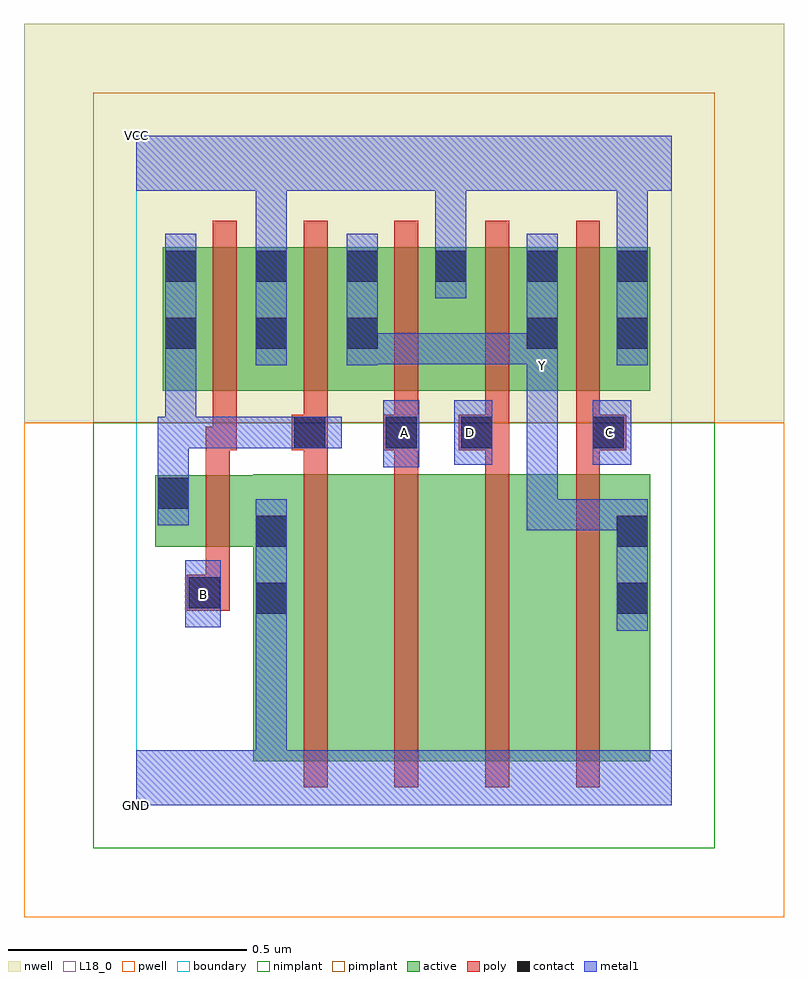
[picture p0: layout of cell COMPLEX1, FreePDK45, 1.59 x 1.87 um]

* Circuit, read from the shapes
.subckt COMPLEX1 A B C D GND VCC Y
M1 GND B n1 VSUBS nfet w=0.15u l=0.05u
M2 n2 n1 GND VSUBS nfet w=0.6u l=0.05u
M3 n3 A n2 VSUBS nfet w=0.6u l=0.05u
M4 n4 D n3 VSUBS nfet w=0.6u l=0.05u
M5 Y C n4 VSUBS nfet w=0.6u l=0.05u
M6 VCC B n1 n5 pfet w=0.3u l=0.05u
M7 Y n1 VCC n5 pfet w=0.3u l=0.05u
M8 VCC A Y n5 pfet w=0.3u l=0.05u
M9 Y D VCC n5 pfet w=0.3u l=0.05u
M10 VCC C Y n5 pfet w=0.3u l=0.05u
.ends

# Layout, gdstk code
import gdstk
lib = gdstk.Library(unit=1e-6, precision=1e-09)
def R(c, l, rs):  # rectangles x0, y0, x1, y1
    for r in rs: c.add(gdstk.rectangle(r[:2], r[2:], *l))
def A(c, l, x, y, w, h, nx, ny, dx, dy):  # array of equal rectangles
    R(c, l, [(x+i*dx, y+j*dy, x+i*dx+w, y+j*dy+h) for i in range(nx) for j in range(ny)])
active = (1, 0)
pwell = (2, 0)
nwell = (3, 0)
nimplant = (4, 0)
pimplant = (5, 0)
poly = (9, 0)
contact = (10, 0)
metal1 = (11, 0)
L18_0 = (18, 0)
boundary = (235, 0)

complex1 = lib.new_cell('COMPLEX1')
A(complex1, active, 0.055, 0.867, 0.075, 0.3, 3, 1, 0.19, 0)
R(complex1, active, [(0.245,0.092,0.47,0.692), (0.47,0.092,0.66,0.692), (0.66,0.092,0.85,0.692), (0.85,0.092,1.075,0.692), (1,0.145,1.075,0.692), (0.245,0.395,0.32,0.61), (0.04,0.54,0.32,0.69), (0.04,0.54,0.115,0.69), (0.055,0.867,0.32,1.167), (0.245,0.867,0.51,1.167), (0.435,0.867,0.695,1.167), (0.62,0.867,0.887,1.167), (0.812,0.867,1.075,1.167), (1,0.867,1.075,1.167), (0.812,0.95,0.887,1.167), (0.62,1.002,0.695,1.167)])
R(complex1, pwell, [(-0.235,-0.235,1.355,0.8)])
R(complex1, nwell, [(-0.235,0.8,1.355,1.635)])
R(complex1, nimplant, [(-0.09,-0.09,1.21,0.8)])
R(complex1, pimplant, [(-0.09,0.8,1.21,1.49)])
A(complex1, poly, 0.35, 0.037, 0.05, 0.71, 4, 1, 0.19, 0)
A(complex1, poly, 0.35, 0.697, 0.05, 0.095, 4, 2, 0.19, 0.07)
A(complex1, poly, 0.16, 0.812, 0.05, 0.41, 5, 1, 0.19, 0)
R(complex1, poly, [(0.105,0.407,0.195,0.482), (0.145,0.432,0.195,0.535), (0.145,0.485,0.195,0.745), (0.145,0.695,0.195,0.792), (0.145,0.742,0.21,0.792), (0.16,0.742,0.21,0.862), (0.325,0.742,0.4,0.817), (0.517,0.742,0.592,0.817), (0.675,0.742,0.78,0.817), (0.92,0.742,1.025,0.817)])
A(complex1, contact, 0.06, 0.955, 0.065, 0.065, 3, 2, 0.19, 0.14)
R(complex1, contact, [(0.25,0.4,0.315,0.465), (1.005,0.4,1.07,0.465), (0.11,0.412,0.175,0.477), (0.25,0.54,0.315,0.605), (1.005,0.54,1.07,0.605), (0.045,0.62,0.11,0.685), (0.33,0.747,0.395,0.812), (0.522,0.747,0.587,0.812), (0.68,0.747,0.745,0.812), (0.955,0.747,1.02,0.812), (0.817,0.955,0.882,1.02), (1.005,0.955,1.07,1.02), (0.625,1.095,0.69,1.16), (0.817,1.095,0.882,1.16), (1.005,1.095,1.07,1.16)])
A(complex1, metal1, 0.06, 0.92, 0.065, 0.275, 3, 1, 0.19, 0)
R(complex1, metal1, [(0,0,1.12,0.115), (0.25,0.05,0.315,0.43), (0.25,0.365,0.315,0.43), (0.25,0.365,0.315,0.43), (0.25,0.365,0.315,0.64), (1.005,0.365,1.07,0.64), (0.102,0.372,0.177,0.512), (0.817,0.575,0.882,0.64), (0.817,0.575,1.07,0.64), (0.817,0.575,0.882,0.917), (1.005,0.575,1.07,0.64), (1.005,0.575,1.07,0.64), (0.045,0.585,0.11,0.72), (0.045,0.655,0.11,0.812), (0.517,0.707,0.592,0.847), (0.665,0.712,0.745,0.847), (0.955,0.712,1.035,0.847), (0.045,0.747,0.125,0.812), (0.06,0.747,0.125,0.812), (0.06,0.747,0.125,0.812), (0.06,0.747,0.36,0.812), (0.06,0.747,0.125,0.985), (0.295,0.747,0.36,0.812), (0.295,0.747,0.36,0.812), (0.295,0.747,0.43,0.812), (0.817,0.852,0.882,0.987), (0.817,0.92,0.882,0.985), (0.817,0.92,0.882,1.195), (1.005,0.92,1.07,1.195), (0.44,0.922,0.505,0.987), (0.44,0.922,0.505,0.987), (0.44,0.922,0.642,0.987), (0.577,0.922,0.642,0.987), (0.577,0.922,0.642,0.987), (0.577,0.922,0.642,0.987), (0.577,0.922,0.882,0.987), (0.625,1.06,0.69,1.195), (0.25,1.13,0.315,1.195), (0.25,1.13,0.315,1.195), (0.25,1.13,0.315,1.35), (0.625,1.13,0.69,1.195), (0.625,1.13,0.69,1.195), (0.625,1.13,0.69,1.35), (1.005,1.13,1.07,1.195), (1.005,1.13,1.07,1.195), (1.005,1.13,1.07,1.35), (0,1.285,1.12,1.4)])
R(complex1, L18_0, [(0,0,1.12,0.115), (0.25,0.05,0.315,0.43), (0.25,0.365,0.315,0.43), (0.25,0.365,0.315,0.43), (0.25,0.365,0.315,0.64), (1.005,0.365,1.07,0.64), (0.102,0.372,0.177,0.512), (0.107,0.407,0.172,0.472), (0.817,0.575,0.882,0.64), (0.817,0.575,0.882,0.917), (0.817,0.575,1.07,0.64), (1.005,0.575,1.07,0.64), (1.005,0.575,1.07,0.64), (0.517,0.707,0.592,0.847), (0.665,0.712,0.745,0.847), (0.955,0.712,1.035,0.847), (0.527,0.747,0.592,0.812), (0.667,0.747,0.732,0.812), (0.957,0.747,1.022,0.812), (0.817,0.852,0.882,0.987), (0.817,0.887,0.882,0.952), (0.25,0.92,0.315,1.195), (0.44,0.92,0.505,1.195), (0.817,0.92,0.882,0.985), (0.817,0.92,0.882,1.195), (1.005,0.92,1.07,1.195), (0.44,0.922,0.505,0.987), (0.44,0.922,0.505,0.987), (0.44,0.922,0.642,0.987), (0.577,0.922,0.642,0.987), (0.577,0.922,0.642,0.987), (0.577,0.922,0.642,0.987), (0.577,0.922,0.882,0.987), (0.625,1.06,0.69,1.195), (0.25,1.13,0.315,1.195), (0.25,1.13,0.315,1.195), (0.25,1.13,0.315,1.35), (0.625,1.13,0.69,1.195), (0.625,1.13,0.69,1.195), (0.625,1.13,0.69,1.35), (1.005,1.13,1.07,1.195), (1.005,1.13,1.07,1.195), (1.005,1.13,1.07,1.35), (0,1.285,1.12,1.4)])
R(complex1, boundary, [(0,0,1.12,1.4)])
complex1.add(gdstk.Label('A', (0.56,0.78), layer=11, texttype=0))
complex1.add(gdstk.Label('B', (0.14,0.44), layer=11, texttype=0))
complex1.add(gdstk.Label('C', (0.99,0.78), layer=11, texttype=0))
complex1.add(gdstk.Label('D', (0.7,0.78), layer=11, texttype=0))
complex1.add(gdstk.Label('Y', (0.85,0.92), layer=11, texttype=0))
complex1.add(gdstk.Label('VCC', (0,1.4), layer=11, texttype=0))
complex1.add(gdstk.Label('GND', (0,0), layer=11, texttype=0))

lib.write_gds('COMPLEX1.gds')
